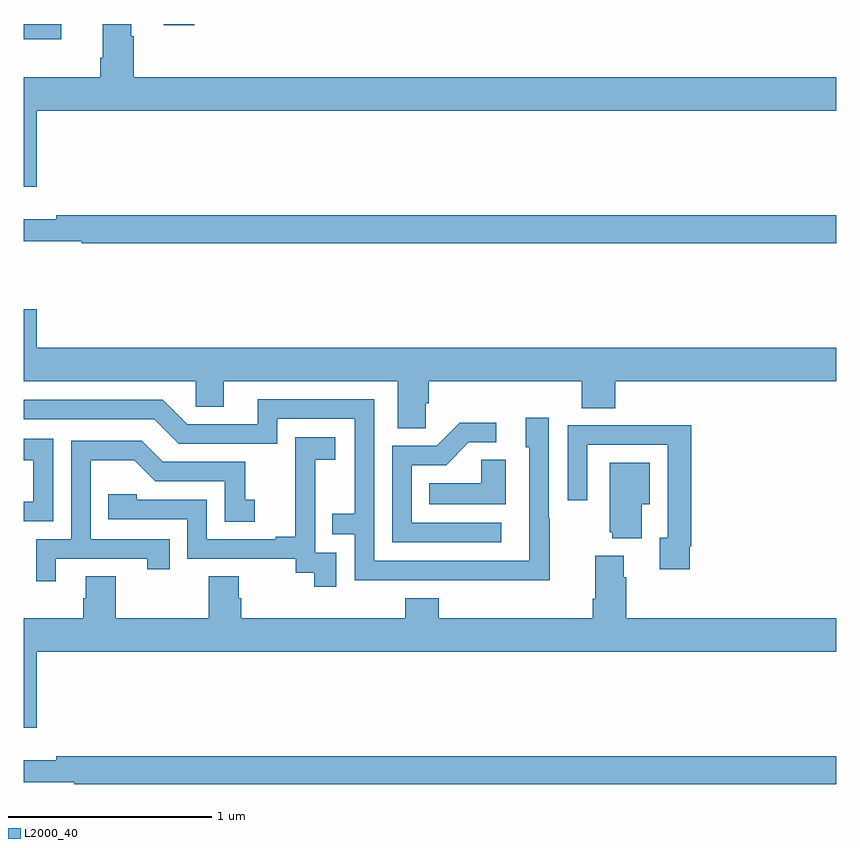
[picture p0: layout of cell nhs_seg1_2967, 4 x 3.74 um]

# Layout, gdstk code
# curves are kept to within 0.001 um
import gdstk
lib = gdstk.Library(unit=1e-6, precision=1e-09)
def R(c, l, rs):  # rectangles x0, y0, x1, y1
    for r in rs: c.add(gdstk.rectangle(r[:2], r[2:], *l))
def P(c, l, *ps):  # polygons
    for p in ps: c.add(gdstk.Polygon(p, *l))
L2000_40 = (2000, 40)

nhs_seg1_2967 = lib.new_cell('nhs_seg1_2967')
R(nhs_seg1_2967, L2000_40, [(273,512.123,273.185,512.199), (273.689,512.193,273.838,512.199)])
P(nhs_seg1_2967, L2000_40, [(273.064,511.772),(277,511.772),(277,511.936),(273.542,511.936),(273.542,512.138),(273.529,512.138),(273.529,512.199),(273.389,512.199),(273.389,512.032),(273.377,512.032),(273.377,511.936),(273,511.936),(273,511.398),(273.064,511.398)],
  [(277,511.256),(273.16,511.256),(273.16,511.237),(273,511.237),(273,511.128),(273.284,511.128),(273.284,511.12),(277,511.12)],
  [(274.98,510.331),(274.994,510.331),(274.994,510.44),(275.747,510.44),(275.747,510.307),(275.912,510.307),(275.912,510.44),(277,510.44),(277,510.604),(273.064,510.604),(273.064,510.793),(273,510.793),(273,510.44),(273.846,510.44),(273.846,510.313),(273.985,510.313),(273.985,510.44),(274.841,510.44),(274.841,510.208),(274.98,510.208)],
  [(275.589,509.765),(275.586,509.765),(275.586,510.259),(275.471,510.259),(275.471,510.114),(275.49,510.114),(275.49,509.556),(274.725,509.556),(274.725,510.351),(274.151,510.351),(274.151,510.228),(273.804,510.228),(273.684,510.348),(273,510.348),(273,510.252),(273.642,510.252),(273.762,510.132),(274.248,510.132),(274.248,510.255),(274.629,510.255),(274.629,509.786),(274.519,509.786),(274.519,509.685),(274.629,509.685),(274.629,509.46),(275.589,509.459)],
  [(275.35,509.742),(274.911,509.742),(274.911,510.027),(275.08,510.027),(275.191,510.138),(275.326,510.138),(275.326,510.236),(275.147,510.236),(275.034,510.123),(274.815,510.123),(274.815,509.646),(275.35,509.646)],
  [(276.28,509.626),(276.287,509.626),(276.287,510.224),(275.995,510.224),(275.995,510.222),(275.679,510.222),(275.679,509.853),(275.775,509.853),(275.775,510.126),(276.171,510.126),(276.171,509.67),(276.131,509.67),(276.131,509.514),(276.28,509.514)],
  [(274.539,509.595),(274.434,509.595),(274.434,509.825),(274.436,509.825),(274.436,510.053),(274.534,510.053),(274.534,510.163),(274.336,510.163),(274.336,509.957),(274.337,509.957),(274.337,509.674),(274.241,509.674),(274.241,509.661),(273.9,509.661),(273.9,509.856),(273.555,509.856),(273.555,509.883),(273.415,509.883),(273.415,509.76),(273.804,509.76),(273.804,509.565),(274.338,509.565),(274.338,509.497),(274.431,509.497),(274.431,509.427),(274.539,509.427)],
  [(273.144,510.157),(273,510.157),(273,510.051),(273.047,510.051),(273.047,509.847),(273,509.847),(273,509.751),(273.144,509.751)],
  [(273.157,509.565),(273.608,509.565),(273.608,509.514),(273.719,509.514),(273.719,509.661),(273.33,509.661),(273.33,510.05),(273.544,510.05),(273.648,509.946),(273.99,509.946),(273.99,509.748),(274.138,509.748),(274.138,509.857),(274.089,509.857),(274.089,510.042),(273.685,510.042),(273.58,510.147),(273.234,510.147),(273.234,509.661),(273.06,509.661),(273.06,509.454),(273.157,509.454)],
  [(275.374,510.053),(275.253,510.053),(275.253,509.938),(274.996,509.938),(274.996,509.834),(275.374,509.834)],
  [(276.043,509.834),(276.082,509.834),(276.082,510.037),(275.885,510.037),(275.885,509.697),(275.897,509.697),(275.897,509.666),(276.043,509.666)],
  [(273.064,509.108),(277,509.108),(277,509.272),(275.966,509.272),(275.966,509.474),(275.953,509.474),(275.953,509.581),(275.813,509.581),(275.813,509.368),(275.801,509.368),(275.801,509.272),(275.042,509.272),(275.042,509.371),(274.877,509.371),(274.877,509.272),(274.07,509.272),(274.07,509.37),(274.057,509.37),(274.057,509.48),(273.91,509.48),(273.91,509.272),(273.453,509.272),(273.453,509.48),(273.305,509.48),(273.305,509.37),(273.293,509.37),(273.293,509.272),(273,509.272),(273,508.734),(273.064,508.734)],
  [(277,508.592),(273.16,508.592),(273.16,508.573),(273,508.573),(273,508.464),(273.248,508.464),(273.248,508.456),(277,508.456)])

lib.write_gds('nhs_seg1_2967.gds')
